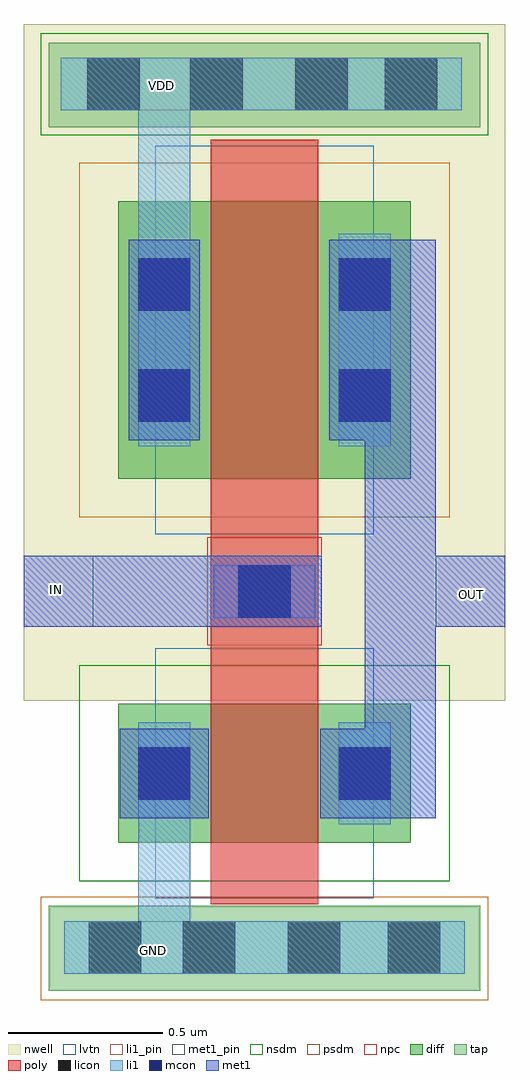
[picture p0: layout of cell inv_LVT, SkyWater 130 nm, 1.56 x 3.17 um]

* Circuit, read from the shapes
.subckt inv_LVT GND IN OUT VDD
XM1 OUT IN GND GND sky130_fd_pr__nfet_01v8_lvt w=0.45 l=0.35
XM2 OUT IN VDD VDD sky130_fd_pr__pfet_01v8_lvt w=0.9 l=0.35
.ends

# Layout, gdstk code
import gdstk
lib = gdstk.Library(unit=1e-6, precision=1e-09)
def R(c, l, rs):  # rectangles x0, y0, x1, y1
    for r in rs: c.add(gdstk.rectangle(r[:2], r[2:], *l))
nwell = (64, 20)
diff = (65, 20)
tap = (65, 44)
poly = (66, 20)
licon = (66, 44)
li1_pin = (67, 16)
li1 = (67, 20)
mcon = (67, 44)
met1_pin = (68, 16)
met1 = (68, 20)
nsdm = (93, 44)
psdm = (94, 20)
npc = (95, 20)
lvtn = (125, 44)

nfet = lib.new_cell('nfet')
R(nfet, diff, [(0,0,0.95,0.45)])
R(nfet, poly, [(0.3,-0.2,0.65,0.65), (0.3,0.65,0.65,0.98)])
R(nfet, licon, [(0.065,0.14,0.235,0.31), (0.715,0.14,0.885,0.31), (0.39,0.73,0.56,0.9)])
R(nfet, li1, [(0.065,0.06,0.235,0.39), (0.715,0.06,0.885,0.39), (0.31,0.73,0.64,0.9)])
R(nfet, mcon, [(0.065,0.14,0.235,0.31), (0.715,0.14,0.885,0.31), (0.39,0.73,0.56,0.9)])
R(nfet, met1, [(0.005,0.08,0.295,0.37), (0.655,0.08,0.945,0.37), (0.29,0.7,0.66,0.93)])
R(nfet, nsdm, [(-0.125,-0.125,1.075,0.575)])
R(nfet, npc, [(0.29,0.64,0.66,0.99)])
R(nfet, lvtn, [(0.12,-0.18,0.83,0.63)])

pfet = lib.new_cell('pfet')
R(pfet, nwell, [(-0.305,-0.72,1.255,1.28)])
R(pfet, diff, [(0,0,0.95,0.9)])
R(pfet, poly, [(0.3,-0.53,0.65,-0.2), (0.3,-0.2,0.65,1.1)])
R(pfet, licon, [(0.39,-0.45,0.56,-0.28), (0.065,0.185,0.235,0.355), (0.715,0.185,0.885,0.355), (0.065,0.545,0.235,0.715), (0.715,0.545,0.885,0.715)])
R(pfet, li1, [(0.31,-0.45,0.64,-0.28), (0.065,0.105,0.235,0.795), (0.715,0.105,0.885,0.795)])
R(pfet, mcon, [(0.39,-0.45,0.56,-0.28), (0.065,0.185,0.235,0.355), (0.715,0.185,0.885,0.355), (0.065,0.545,0.235,0.715), (0.715,0.545,0.885,0.715)])
R(pfet, met1, [(0.29,-0.48,0.66,-0.25), (0.035,0.125,0.265,0.775), (0.685,0.125,0.915,0.775)])
R(pfet, psdm, [(-0.125,-0.125,1.075,1.025)])
R(pfet, npc, [(0.29,-0.54,0.66,-0.19)])
R(pfet, lvtn, [(0.12,-0.18,0.83,1.08)])

inv_lvt = lib.new_cell('inv_LVT')
R(inv_lvt, nwell, [(0.7,2.33,2.26,2.525)])
R(inv_lvt, tap, [(0.78,-0.61,2.18,-0.335), (0.78,2.19,2.18,2.465)])
R(inv_lvt, licon, [(0.91,-0.555,1.08,-0.385), (1.215,-0.555,1.385,-0.385), (1.555,-0.555,1.725,-0.385), (1.88,-0.555,2.05,-0.385), (0.905,2.245,1.075,2.415), (1.24,2.245,1.41,2.415), (1.58,2.245,1.75,2.415), (1.87,2.245,2.04,2.415)])
R(inv_lvt, li1_pin, [(1.07,-0.555,1.24,-0.385), (1.07,2.245,1.24,2.415)])
R(inv_lvt, li1, [(0.83,-0.555,2.13,-0.385), (0.83,-0.555,2.13,-0.385), (1.07,-0.385,1.24,-0.07), (1.07,1.845,1.24,2.245), (0.82,2.245,2.12,2.415)])
R(inv_lvt, met1_pin, [(0.7,0.57,0.925,0.8), (2.035,0.57,2.26,0.8)])
R(inv_lvt, met1, [(1.805,-0.05,2.035,1.825), (0.7,0.57,1.295,0.8), (2.035,0.57,2.26,0.8)])
R(inv_lvt, nsdm, [(0.755,2.165,2.205,2.495)])
R(inv_lvt, psdm, [(0.755,-0.64,2.205,-0.305)])
inv_lvt.add(gdstk.Reference(nfet, (1.005,-0.13)))
inv_lvt.add(gdstk.Reference(pfet, (1.005,1.05)))
inv_lvt.add(gdstk.Label('VDD', (1.145,2.325), layer=67, texttype=5))
inv_lvt.add(gdstk.Label('GND', (1.12,-0.48), layer=67, texttype=5))
inv_lvt.add(gdstk.Label('IN', (0.805,0.69), layer=68, texttype=5))
inv_lvt.add(gdstk.Label('OUT', (2.15,0.675), layer=68, texttype=5))

lib.write_gds('inv_LVT.gds')
